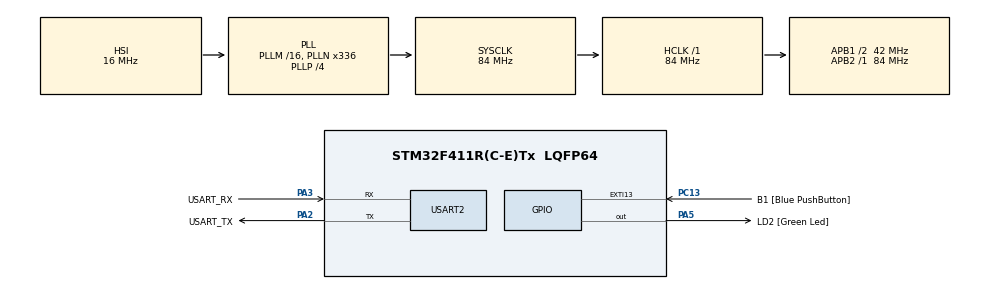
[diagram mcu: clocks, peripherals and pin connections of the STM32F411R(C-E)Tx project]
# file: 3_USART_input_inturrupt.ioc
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Mcu.Family=STM32F4
Mcu.Name=STM32F411R(C-E)Tx
Mcu.Package=LQFP64
NVIC.PriorityGroup=NVIC_PRIORITYGROUP_0
NVIC.USART2_IRQn=true\:0\:0\:false\:false\:true\:true\:true\:true
PA13.GPIO_Label=TMS
PA13.Mode=Serial_Wire
PA13.Signal=SYS_JTMS-SWDIO
PA14.GPIO_Label=TCK
PA14.Mode=Serial_Wire
PA14.Signal=SYS_JTCK-SWCLK
PA2.GPIO_Label=USART_TX
PA2.Mode=Asynchronous
PA2.Signal=USART2_TX
PA3.GPIO_Label=USART_RX
PA3.Mode=Asynchronous
PA3.Signal=USART2_RX
PA5.GPIO_Label=LD2 [Green Led]
PA5.Signal=GPIO_Output
PB3.GPIO_Label=SWO
PB3.Signal=SYS_JTDO-SWO
PC13-ANTI_TAMP.GPIO_Label=B1 [Blue PushButton]
PC13-ANTI_TAMP.GPIO_ModeDefaultEXTI=GPIO_MODE_IT_FALLING
PC13-ANTI_TAMP.Signal=GPXTI13
PC14-OSC32_IN.Mode=LSE-External-Oscillator
PC14-OSC32_IN.Signal=RCC_OSC32_IN
PC15-OSC32_OUT.Mode=LSE-External-Oscillator
PC15-OSC32_OUT.Signal=RCC_OSC32_OUT
PH0\ -\ OSC_IN.Mode=HSE-External-Clock-Source
PH0\ -\ OSC_IN.Signal=RCC_OSC_IN
PH1\ -\ OSC_OUT.Mode=HSE-External-Clock-Source
PH1\ -\ OSC_OUT.Signal=RCC_OSC_OUT
ProjectManager.HeapSize=0x200
ProjectManager.StackSize=0x400
ProjectManager.TargetToolchain=STM32CubeIDE
RCC.48MHZClocksFreq_Value=84000000
RCC.AHBFreq_Value=84000000
RCC.APB1CLKDivider=RCC_HCLK_DIV2
RCC.APB1Freq_Value=42000000
RCC.APB1TimFreq_Value=84000000
RCC.APB2Freq_Value=84000000
RCC.APB2TimFreq_Value=84000000
RCC.CortexFreq_Value=84000000
RCC.FLatency-AdvancedSettings=FLASH_LATENCY_2
RCC.HCLKFreq_Value=84000000
RCC.HSE_VALUE=8000000
RCC.HSI_VALUE=16000000
RCC.PLLN=336
RCC.PLLP=RCC_PLLP_DIV4
RCC.SYSCLKFreq_VALUE=84000000
RCC.SYSCLKSource=RCC_SYSCLKSOURCE_PLLCLK
RCC.VCOOutputFreq_Value=336000000
USART2.VirtualMode=VM_ASYNC
board=NUCLEO-F411RE

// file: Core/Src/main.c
/* USER CODE BEGIN Header */
/**
  ******************************************************************************
  * @file           : main.c
  * @brief          : Main program body
  ******************************************************************************
  * @attention
  *
  * Copyright (c) 2025 STMicroelectronics.
  * All rights reserved.
  *
  * This software is licensed under terms that can be found in the LICENSE file
  * in the root directory of this software component.
  * If no LICENSE file comes with this software, it is provided AS-IS.
  *
  ******************************************************************************
  */
/* USER CODE END Header */
#include "main.h"

/* USER CODE BEGIN Includes */
#include <stdio.h>
#include <string.h>
//계속 send를 보내다고 입력이 들어오면 receive를 보내다.
/* USER CODE END Includes */

/* USER CODE BEGIN PD */
#define TX_BUF_SIZE 16
/* USER CODE END PD */

UART_HandleTypeDef huart2;

/* USER CODE BEGIN PV */
uint8_t rxData;
uint8_t txBuf[TX_BUF_SIZE];
/* USER CODE END PV */

void SystemClock_Config(void);
static void MX_GPIO_Init(void);
static void MX_USART2_UART_Init(void);

/* USER CODE BEGIN 0 */
//USART2 RX에 인터럽트 요청이 있을 때 실행되는 Callback 함수
void HAL_UART_RxCpltCallback(UART_HandleTypeDef *huart)
{
	if (huart->Instance == USART2)
	{
		const char* msg = "recv\r\n";
		HAL_UART_Transmit(&huart2, (uint8_t*)msg, strlen(msg), 100);
		HAL_UART_Receive_IT(&huart2, &rxData, 1);
	}
}
/* USER CODE END 0 */

int main(void)
{

  /* MCU Configuration--------------------------------------------------------*/

  /* Reset of all peripherals, Initializes the Flash interface and the Systick. */
  HAL_Init();

  /* Configure the system clock */
  SystemClock_Config();

  /* Initialize all configured peripherals */
  MX_GPIO_Init();
  MX_USART2_UART_Init();
  /* USER CODE BEGIN 2 */
  //USART2 RX에 인터럽트를 시작한다.
  HAL_UART_Receive_IT(&huart2, &rxData, 1);
  /* USER CODE END 2 */

  /* Infinite loop */
  /* USER CODE BEGIN WHILE */
  /* 주기적으로 "in ing" 전송 (1초 간격) */
  const char *periodic = "send\r\n";
  while (1)
  {
	size_t len = strlen(periodic);
	HAL_UART_Transmit(&huart2, (uint8_t*)periodic, (uint16_t)len, 100); /* 블로킹 전송 */
	HAL_Delay(1000);
    /* USER CODE END WHILE */

  }
}

void SystemClock_Config(void)
{
  RCC_OscInitTypeDef RCC_OscInitStruct = {0};
  RCC_ClkInitTypeDef RCC_ClkInitStruct = {0};

  /** Configure the main internal regulator output voltage
  */
  __HAL_RCC_PWR_CLK_ENABLE();
  __HAL_PWR_VOLTAGESCALING_CONFIG(PWR_REGULATOR_VOLTAGE_SCALE1);

  /** Initializes the RCC Oscillators according to the specified parameters
  * in the RCC_OscInitTypeDef structure.
  */
  RCC_OscInitStruct.OscillatorType = RCC_OSCILLATORTYPE_HSI;
  RCC_OscInitStruct.HSIState = RCC_HSI_ON;
  RCC_OscInitStruct.HSICalibrationValue = RCC_HSICALIBRATION_DEFAULT;
  RCC_OscInitStruct.PLL.PLLState = RCC_PLL_ON;
  RCC_OscInitStruct.PLL.PLLSource = RCC_PLLSOURCE_HSI;
  RCC_OscInitStruct.PLL.PLLM = 16;
  RCC_OscInitStruct.PLL.PLLN = 336;
  RCC_OscInitStruct.PLL.PLLP = RCC_PLLP_DIV4;
  RCC_OscInitStruct.PLL.PLLQ = 4;
  if (HAL_RCC_OscConfig(&RCC_OscInitStruct) != HAL_OK)
  {
    Error_Handler();
  }

  /** Initializes the CPU, AHB and APB buses clocks
  */
  RCC_ClkInitStruct.ClockType = RCC_CLOCKTYPE_HCLK|RCC_CLOCKTYPE_SYSCLK
                              |RCC_CLOCKTYPE_PCLK1|RCC_CLOCKTYPE_PCLK2;
  RCC_ClkInitStruct.SYSCLKSource = RCC_SYSCLKSOURCE_PLLCLK;
  RCC_ClkInitStruct.AHBCLKDivider = RCC_SYSCLK_DIV1;
  RCC_ClkInitStruct.APB1CLKDivider = RCC_HCLK_DIV2;
  RCC_ClkInitStruct.APB2CLKDivider = RCC_HCLK_DIV1;

  if (HAL_RCC_ClockConfig(&RCC_ClkInitStruct, FLASH_LATENCY_2) != HAL_OK)
  {
    Error_Handler();
  }
}

static void MX_USART2_UART_Init(void)
{

  huart2.Instance = USART2;
  huart2.Init.BaudRate = 115200;
  huart2.Init.WordLength = UART_WORDLENGTH_8B;
  huart2.Init.StopBits = UART_STOPBITS_1;
  huart2.Init.Parity = UART_PARITY_NONE;
  huart2.Init.Mode = UART_MODE_TX_RX;
  huart2.Init.HwFlowCtl = UART_HWCONTROL_NONE;
  huart2.Init.OverSampling = UART_OVERSAMPLING_16;
  if (HAL_UART_Init(&huart2) != HAL_OK)
  {
    Error_Handler();
  }

}

static void MX_GPIO_Init(void)
{
  GPIO_InitTypeDef GPIO_InitStruct = {0};

  /* GPIO Ports Clock Enable */
  __HAL_RCC_GPIOC_CLK_ENABLE();
  __HAL_RCC_GPIOH_CLK_ENABLE();
  __HAL_RCC_GPIOA_CLK_ENABLE();
  __HAL_RCC_GPIOB_CLK_ENABLE();

  /*Configure GPIO pin Output Level */
  HAL_GPIO_WritePin(LD2_GPIO_Port, LD2_Pin, GPIO_PIN_RESET);

  /*Configure GPIO pin : B1_Pin */
  GPIO_InitStruct.Pin = B1_Pin;
  GPIO_InitStruct.Mode = GPIO_MODE_IT_FALLING;
  GPIO_InitStruct.Pull = GPIO_NOPULL;
  HAL_GPIO_Init(B1_GPIO_Port, &GPIO_InitStruct);

  /*Configure GPIO pin : LD2_Pin */
  GPIO_InitStruct.Pin = LD2_Pin;
  GPIO_InitStruct.Mode = GPIO_MODE_OUTPUT_PP;
  GPIO_InitStruct.Pull = GPIO_NOPULL;
  GPIO_InitStruct.Speed = GPIO_SPEED_FREQ_LOW;
  HAL_GPIO_Init(LD2_GPIO_Port, &GPIO_InitStruct);

}

void Error_Handler(void)
{
  __disable_irq();
  while (1)
  {
  }
}
